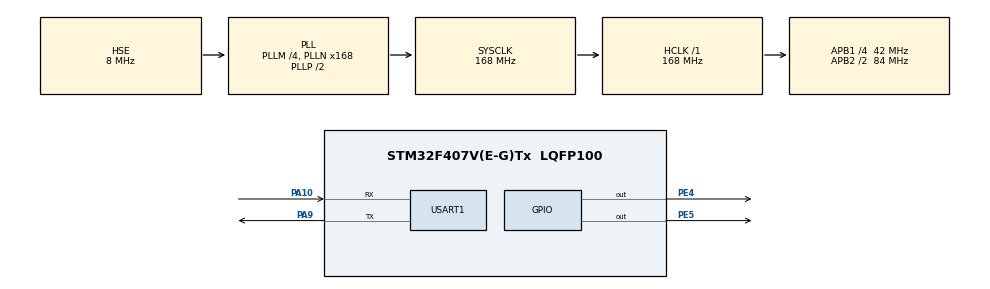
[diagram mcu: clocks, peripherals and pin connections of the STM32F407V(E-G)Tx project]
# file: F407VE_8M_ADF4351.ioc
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Mcu.Family=STM32F4
Mcu.Name=STM32F407V(E-G)Tx
Mcu.Package=LQFP100
NVIC.PriorityGroup=NVIC_PRIORITYGROUP_4
NVIC.USART1_IRQn=true\:0\:0\:false\:false\:true\:true\:true
PA10.Mode=Asynchronous
PA10.Signal=USART1_RX
PA13.Mode=Serial_Wire
PA13.Signal=SYS_JTMS-SWDIO
PA14.Mode=Serial_Wire
PA14.Signal=SYS_JTCK-SWCLK
PA9.Mode=Asynchronous
PA9.Signal=USART1_TX
PC14-OSC32_IN.Mode=LSE-External-Oscillator
PC14-OSC32_IN.Signal=RCC_OSC32_IN
PC15-OSC32_OUT.Mode=LSE-External-Oscillator
PC15-OSC32_OUT.Signal=RCC_OSC32_OUT
PE4.GPIO_ModeDefaultOutputPP=GPIO_MODE_OUTPUT_PP
PE4.GPIO_PuPd=GPIO_PULLUP
PE4.GPIO_Speed=GPIO_SPEED_FREQ_VERY_HIGH
PE4.PinState=GPIO_PIN_SET
PE4.Signal=GPIO_Output
PE5.GPIO_ModeDefaultOutputPP=GPIO_MODE_OUTPUT_PP
PE5.GPIO_PuPd=GPIO_PULLUP
PE5.GPIO_Speed=GPIO_SPEED_FREQ_VERY_HIGH
PE5.PinState=GPIO_PIN_SET
PE5.Signal=GPIO_Output
PH0-OSC_IN.Mode=HSE-External-Oscillator
PH0-OSC_IN.Signal=RCC_OSC_IN
PH1-OSC_OUT.Mode=HSE-External-Oscillator
PH1-OSC_OUT.Signal=RCC_OSC_OUT
ProjectManager.HeapSize=0x200
ProjectManager.StackSize=0x400
ProjectManager.TargetToolchain=MDK-ARM V5.27
RCC.48MHZClocksFreq_Value=84000000
RCC.AHBFreq_Value=168000000
RCC.APB1CLKDivider=RCC_HCLK_DIV4
RCC.APB1Freq_Value=42000000
RCC.APB1TimFreq_Value=84000000
RCC.APB2CLKDivider=RCC_HCLK_DIV2
RCC.APB2Freq_Value=84000000
RCC.APB2TimFreq_Value=168000000
RCC.CortexFreq_Value=168000000
RCC.HCLKFreq_Value=168000000
RCC.HSE_VALUE=8000000
RCC.HSI_VALUE=16000000
RCC.PLLM=4
RCC.PLLN=168
RCC.PLLSourceVirtual=RCC_PLLSOURCE_HSE
RCC.SYSCLKFreq_VALUE=168000000
RCC.SYSCLKSource=RCC_SYSCLKSOURCE_PLLCLK
RCC.VCOOutputFreq_Value=336000000
USART1.VirtualMode=VM_ASYNC
board=custom

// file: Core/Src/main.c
/* USER CODE BEGIN Header */
/**
  ******************************************************************************
  * @file           : main.c
  * @brief          : Main program body
  ******************************************************************************
  * @attention
  *
  * <h2><center>&copy; Copyright (c) 2021 STMicroelectronics.
  * All rights reserved.</center></h2>
  *
  * This software component is licensed by ST under BSD 3-Clause license,
  * the "License"; You may not use this file except in compliance with the
  * License. You may obtain a copy of the License at:
  *                        opensource.org/licenses/BSD-3-Clause
  *
  ******************************************************************************
  */
/* USER CODE END Header */
#include "main.h"
#include "usart.h"
#include "gpio.h"

/* USER CODE BEGIN Includes */
#include "ADF4351/adf4351.h"
/* USER CODE END Includes */

/* USER CODE BEGIN PV */
MyUARTHandle uart;
uint8_t uartBuf[100];
/* USER CODE END PV */

void SystemClock_Config(void);

int main(void)
{
  /* USER CODE BEGIN 1 */
  uint8_t str[30];
  uint32_t reg;
  double freq;
  ADF4351_CLKConfig CLK;
  /* USER CODE END 1 */

  /* MCU Configuration--------------------------------------------------------*/

  /* Reset of all peripherals, Initializes the Flash interface and the Systick. */
  HAL_Init();

  /* Configure the system clock */
  SystemClock_Config();

  /* Initialize all configured peripherals */
  MX_GPIO_Init();
  MX_USART1_UART_Init();
  /* USER CODE BEGIN 2 */
  Delay_Init(168);
  ADF4351_Init();
  ADF4351_SetCLKConfig(&CLK, 40, 10, 0, 1, 32, 0.001); // for 40MHz clock
  // ADF4351_SetCLKConfig(&CLK, 100, 25, 0, 1, 32, 0.001); // for 100MHz clock
  ADF4351_WriteCLKConfig(&CLK);
  MyUART_Init(&uart, USART1, uartBuf, 100);
  ADF4351_SetFreq(&CLK, 80.001);
  printf("ADF4351 Test\r\n");

  /* USER CODE END 2 */

  /* Infinite loop */
  while (1)
  {

    /* USER CODE BEGIN 3 */
    Delay_ms(100);
    if(MyUART_ReadUntilWithEnd(&uart, str, '>'))
    {
      if(str[0] == 'f') // frequency
      {
        freq = myatof(str+1);
        printf("Freq set to %f\r\n", ADF4351_SetFreq(&CLK, freq));
      }
      else if(str[0] == 'c') // configure
      {
        ADF4351_WriteCLKConfig(&CLK);
        printf("WriteCLKConfig\r\n");
      }
      else if(str[0] == 'i') // init
      {
        ADF4351_Init();
        printf("Init\r\n");
      }
      else if(str[0] == 't') // test
      {
        if(str[1] == '1')
          ADF4351_Write(0x0000E1A9);
        else if(str[1] == '2')
          ADF4351_Write(0x01008E42);
        else if(str[1] == '3')
          ADF4351_Write(0x000404B3);
        else if(str[1] == '4')
          ADF4351_Write(0x00580005);
        else if(str[1] == '5')
          ADF4351_Write(0x0000E1A9);
        printf("Write to R%c\r\n", str[1]);
      }
      else if(str[0] == 'w') // write
      {
        reg = myatoi_hex(str+1);
        ADF4351_Write(reg);
        printf("Write 0x%x\r\n", reg);
      }
    }
  }
  /* USER CODE END 3 */
}

void SystemClock_Config(void)
{
  RCC_OscInitTypeDef RCC_OscInitStruct = {0};
  RCC_ClkInitTypeDef RCC_ClkInitStruct = {0};

  /** Configure the main internal regulator output voltage
  */
  __HAL_RCC_PWR_CLK_ENABLE();
  __HAL_PWR_VOLTAGESCALING_CONFIG(PWR_REGULATOR_VOLTAGE_SCALE1);
  /** Initializes the RCC Oscillators according to the specified parameters
  * in the RCC_OscInitTypeDef structure.
  */
  RCC_OscInitStruct.OscillatorType = RCC_OSCILLATORTYPE_HSE;
  RCC_OscInitStruct.HSEState = RCC_HSE_ON;
  RCC_OscInitStruct.PLL.PLLState = RCC_PLL_ON;
  RCC_OscInitStruct.PLL.PLLSource = RCC_PLLSOURCE_HSE;
  RCC_OscInitStruct.PLL.PLLM = 4;
  RCC_OscInitStruct.PLL.PLLN = 168;
  RCC_OscInitStruct.PLL.PLLP = RCC_PLLP_DIV2;
  RCC_OscInitStruct.PLL.PLLQ = 4;
  if (HAL_RCC_OscConfig(&RCC_OscInitStruct) != HAL_OK)
  {
    Error_Handler();
  }
  /** Initializes the CPU, AHB and APB buses clocks
  */
  RCC_ClkInitStruct.ClockType = RCC_CLOCKTYPE_HCLK|RCC_CLOCKTYPE_SYSCLK
                              |RCC_CLOCKTYPE_PCLK1|RCC_CLOCKTYPE_PCLK2;
  RCC_ClkInitStruct.SYSCLKSource = RCC_SYSCLKSOURCE_PLLCLK;
  RCC_ClkInitStruct.AHBCLKDivider = RCC_SYSCLK_DIV1;
  RCC_ClkInitStruct.APB1CLKDivider = RCC_HCLK_DIV4;
  RCC_ClkInitStruct.APB2CLKDivider = RCC_HCLK_DIV2;

  if (HAL_RCC_ClockConfig(&RCC_ClkInitStruct, FLASH_LATENCY_5) != HAL_OK)
  {
    Error_Handler();
  }
}

void Error_Handler(void)
{
  __disable_irq();
  while (1)
  {
  }
}

/************************ (C) COPYRIGHT STMicroelectronics *****END OF FILE****/
